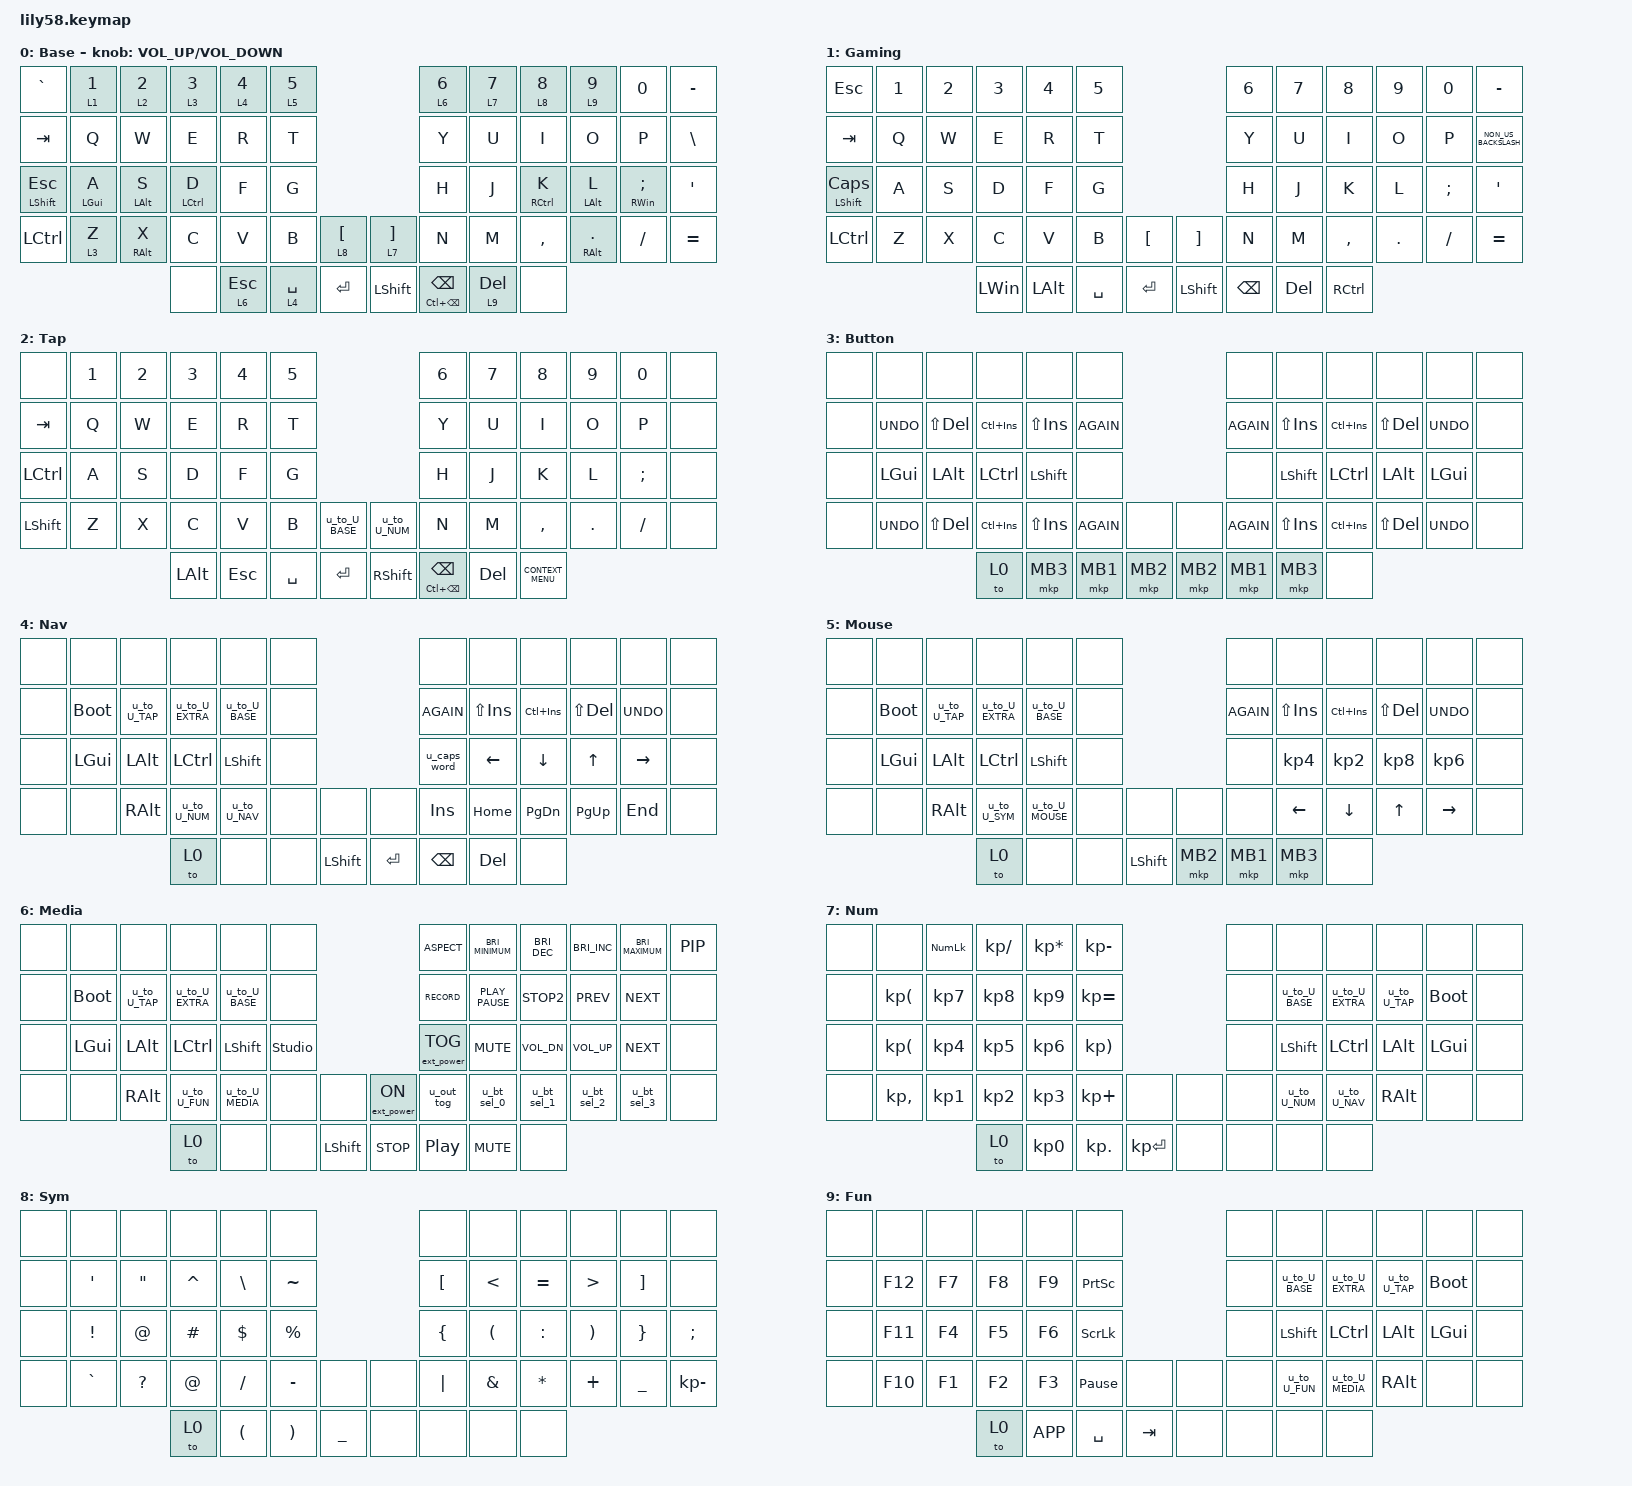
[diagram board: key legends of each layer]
/*
 * Copyright (c) 2020 The ZMK Contributors
 *
 * SPDX-License-Identifier: MIT
 */

#include <behaviors/mouse_key_press.dtsi>
#include <dt-bindings/zmk/mouse.h>
#include <behaviors.dtsi>
#include <dt-bindings/zmk/bt.h>
#include <dt-bindings/zmk/ext_power.h>
#include <dt-bindings/zmk/keys.h>
#include <dt-bindings/zmk/outputs.h>
#include <dt-bindings/zmk/pointing.h>

/ {
    combos {
        compatible = "zmk,combos";

        home {
            bindings = <&to 0>;
            key-positions = <25 26 27 28 31 32 33 34>;
        };
    };

    keymap {
        compatible = "zmk,keymap";

        BASE {
            display-name = "Base";
            bindings = <
&kp GRAVE              &u_to_tap 1 NUMBER_1  &u_to_tap 2 NUMBER_2  &u_to_tap 3 NUMBER_3  &u_to_tap 4 NUMBER_4  &u_to_tap 5 N5                                                 &u_to_tap 6 NUMBER_6         &u_to_tap 7 N7  &u_to_tap 8 N8  &u_to_tap 9 N9  &kp NUMBER_0         &kp MINUS
&kp TAB                &kp Q                 &kp W                 &kp E                 &kp R                 &kp T                                                          &kp Y                        &kp U           &kp I           &kp O           &kp P                &kp BACKSLASH
&mt LEFT_SHIFT ESCAPE  &hml LGUI A           &hml LALT S           &hml LCTRL D          &kp F                 &kp G                                                          &kp H                        &kp J           &hmr RCTRL K    &hmr LALT L     &hmr RWIN SEMICOLON  &kp SQT
&kp LCTRL              &u_lt 3 Z             &hml RALT X           &kp C                 &kp V                 &kp B           &u_lt 8 LEFT_BRACKET    &u_lt 7 RIGHT_BRACKET  &kp N                        &kp M           &kp COMMA       &hmr RALT DOT   &kp SLASH            &kp EQUAL
                                                                   &none                 &u_lt 6 ESC           &u_lt 4 SPACE   &kp ENTER               &kp LEFT_SHIFT         &mt LC(BACKSPACE) BACKSPACE  &u_lt 9 DEL     &none
            >;

            sensor-bindings = <&inc_dec_kp K_VOLUME_UP K_VOLUME_DOWN>;
        };

        GAMING {
            display-name = "Gaming";
            bindings = <
&kp ESCAPE               &kp NUMBER_1  &kp NUMBER_2  &kp NUMBER_3  &kp NUMBER_4  &kp N5                                            &kp NUMBER_6   &kp N7      &kp N8     &kp N9      &kp N0         &kp MINUS
&kp TAB                  &kp Q         &kp W         &kp E         &kp R         &kp T                                             &kp Y          &kp U       &kp I      &kp O       &kp P          &kp NON_US_BACKSLASH
&mt LEFT_SHIFT CAPSLOCK  &kp A         &kp S         &kp D         &kp F         &kp G                                             &kp H          &kp J       &kp K      &kp L       &kp SEMICOLON  &kp SQT
&kp LCTRL                &kp Z         &kp X         &kp C         &kp V         &kp B      &kp LEFT_BRACKET    &kp RIGHT_BRACKET  &kp N          &kp M       &kp COMMA  &kp PERIOD  &kp SLASH      &kp EQUAL
                                                     &kp LEFT_WIN  &kp LEFT_ALT  &kp SPACE  &kp ENTER           &kp LEFT_SHIFT     &kp BACKSPACE  &kp DELETE  &kp RCTRL
            >;
        };

        TAP {
            display-name = "Tap";
            bindings = <
&none      &kp N1  &kp N2  &kp N3        &kp N4   &kp N5                                      &kp N6             &kp N7   &kp N8              &kp N9   &kp N0    &none
&kp TAB    &kp Q   &kp W   &kp E         &kp R    &kp T                                       &kp Y              &kp U    &kp I               &kp O    &kp P     &none
&kp LCTRL  &kp A   &kp S   &kp D         &kp F    &kp G                                       &kp H              &kp J    &kp K               &kp L    &kp SEMI  &none
&kp LSHFT  &kp Z   &kp X   &kp C         &kp V    &kp B      &u_to_U_BASE    &u_to_U_NUM      &kp N              &kp M    &kp COMMA           &kp DOT  &kp FSLH  &none
                           &kp LEFT_ALT  &kp ESC  &kp SPACE  &kp ENTER       &kp RIGHT_SHIFT  &mt LC(BSPC) BSPC  &kp DEL  &kp K_CONTEXT_MENU
            >;
        };

        BUTTON {
            display-name = "Button";
            bindings = <
&none  &none       &none        &none        &none        &none                              &none        &none        &none        &none        &none       &none
&none  &kp K_UNDO  &kp LS(DEL)  &kp LC(INS)  &kp LS(INS)  &kp K_AGAIN                        &kp K_AGAIN  &kp LS(INS)  &kp LC(INS)  &kp LS(DEL)  &kp K_UNDO  &none
&none  &kp LGUI    &kp LALT     &kp LCTRL    &kp LSHFT    &none                              &none        &kp LSHFT    &kp LCTRL    &kp LALT     &kp LGUI    &none
&none  &kp K_UNDO  &kp LS(DEL)  &kp LC(INS)  &kp LS(INS)  &kp K_AGAIN  &none       &none     &kp K_AGAIN  &kp LS(INS)  &kp LC(INS)  &kp LS(DEL)  &kp K_UNDO  &none
                                &to 0        &mkp MB3     &mkp MB1     &mkp MB2    &mkp MB2  &mkp MB1     &mkp MB3     &none
            >;
        };

        NAV {
            display-name = "Nav";
            bindings = <
&none  &none        &none        &none          &none         &none                             &none         &none        &none        &none        &none       &none
&none  &bootloader  &u_to_U_TAP  &u_to_U_EXTRA  &u_to_U_BASE  &none                             &kp K_AGAIN   &kp LS(INS)  &kp LC(INS)  &kp LS(DEL)  &kp K_UNDO  &none
&none  &kp LGUI     &kp LALT     &kp LCTRL      &kp LSHFT     &none                             &u_caps_word  &kp LEFT     &kp DOWN     &kp UP       &kp RIGHT   &none
&none  &none        &kp RALT     &u_to_U_NUM    &u_to_U_NAV   &none  &none             &none    &kp INS       &kp HOME     &kp PG_DN    &kp PG_UP    &kp END     &none
                                 &to 0          &none         &none  &kp LEFT_SHIFT    &kp RET  &kp BSPC      &kp DEL      &none
            >;
        };

        MOUSE {
            display-name = "Mouse";
            bindings = <
&none  &none        &none        &none          &none          &none                              &none        &none        &none        &none         &none       &none
&none  &bootloader  &u_to_U_TAP  &u_to_U_EXTRA  &u_to_U_BASE   &none                              &kp K_AGAIN  &kp LS(INS)  &kp LC(INS)  &kp LS(DEL)   &kp K_UNDO  &none
&none  &kp LGUI     &kp LALT     &kp LCTRL      &kp LSHFT      &none                              &none        &kp KP_N4    &kp KP_N2    &kp KP_N8     &kp KP_N6   &none
&none  &none        &kp RALT     &u_to_U_SYM    &u_to_U_MOUSE  &none  &none             &none     &none        &kp LEFT     &kp DOWN     &kp UP_ARROW  &kp RIGHT   &none
                                 &to 0          &none          &none  &kp LEFT_SHIFT    &mkp MB2  &mkp MB1     &mkp MB3     &none
            >;
        };

        MEDIA {
            display-name = "Media";
            bindings = <
&none  &none        &none        &none          &none          &none                                               &kp C_ASPECT       &kp C_BRIGHTNESS_MINIMUM  &kp C_BRI_DEC  &kp C_BRI_INC  &kp C_BRIGHTNESS_MAXIMUM  &kp C_PIP
&none  &bootloader  &u_to_U_TAP  &u_to_U_EXTRA  &u_to_U_BASE   &none                                               &kp C_RECORD       &kp K_PLAY_PAUSE          &kp K_STOP2    &kp K_PREV     &kp K_NEXT                &none
&none  &kp LGUI     &kp LALT     &kp LCTRL      &kp LSHFT      &studio_unlock                                      &ext_power EP_TOG  &kp K_MUTE                &kp C_VOL_DN   &kp C_VOL_UP   &kp K_NEXT                &none
&none  &none        &kp RALT     &u_to_U_FUN    &u_to_U_MEDIA  &none           &none             &ext_power EP_ON  &u_out_tog         &u_bt_sel_0               &u_bt_sel_1    &u_bt_sel_2    &u_bt_sel_3               &none
                                 &to 0          &none          &none           &kp LEFT_SHIFT    &kp C_STOP        &kp C_PP           &kp C_MUTE                &none
            >;
        };

        NUM {
            display-name = "Num";
            bindings = <
&none  &none                    &kp KP_NUMLOCK   &kp KP_DIVIDE    &kp KP_ASTERISK  &kp KP_MINUS                                     &none  &none         &none          &none        &none        &none
&none  &kp KP_LEFT_PARENTHESIS  &kp KP_NUMBER_7  &kp KP_NUMBER_8  &kp KP_NUMBER_9  &kp KP_EQUAL                                     &none  &u_to_U_BASE  &u_to_U_EXTRA  &u_to_U_TAP  &bootloader  &none
&none  &kp KP_LEFT_PARENTHESIS  &kp KP_NUMBER_4  &kp KP_N5        &kp KP_NUMBER_6  &kp KP_RIGHT_PARENTHESIS                         &none  &kp LSHFT     &kp LCTRL      &kp LALT     &kp LGUI     &none
&none  &kp KP_COMMA             &kp KP_NUMBER_1  &kp KP_NUMBER_2  &kp KP_NUMBER_3  &kp KP_PLUS               &none           &none  &none  &u_to_U_NUM   &u_to_U_NAV    &kp RALT     &none        &none
                                                 &to 0            &kp KP_N0        &kp KP_DOT                &kp KP_ENTER    &none  &none  &none         &none
            >;
        };

        SYM {
            display-name = "Sym";
            bindings = <
&none  &none            &none              &none      &none          &none                            &none             &none                 &none         &none                  &none              &none
&none  &kp SQT          &kp DOUBLE_QUOTES  &kp CARET  &kp BACKSLASH  &kp TILDE                        &kp LEFT_BRACKET  &kp LESS_THAN         &kp EQUAL     &kp GREATER_THAN       &kp RIGHT_BRACKET  &none
&none  &kp EXCLAMATION  &kp AT             &kp HASH   &kp DOLLAR     &kp PERCENT                      &kp LEFT_BRACE    &kp LEFT_PARENTHESIS  &kp COLON     &kp RIGHT_PARENTHESIS  &kp RIGHT_BRACE    &kp SEMICOLON
&none  &kp GRAVE        &kp QUESTION       &kp AT     &kp SLASH      &kp MINUS    &none        &none  &kp PIPE          &kp AMPERSAND         &kp ASTERISK  &kp PLUS               &kp UNDERSCORE     &kp KP_MINUS
                                           &to 0      &kp LPAR       &kp RPAR     &kp UNDER    &none  &none             &none                 &none
            >;
        };

        FUN {
            display-name = "Fun";
            bindings = <
&none  &none    &none   &none   &none      &none                              &none  &none         &none          &none        &none        &none
&none  &kp F12  &kp F7  &kp F8  &kp F9     &kp PSCRN                          &none  &u_to_U_BASE  &u_to_U_EXTRA  &u_to_U_TAP  &bootloader  &none
&none  &kp F11  &kp F4  &kp F5  &kp F6     &kp SLCK                           &none  &kp LSHFT     &kp LCTRL      &kp LALT     &kp LGUI     &none
&none  &kp F10  &kp F1  &kp F2  &kp F3     &kp PAUSE_BREAK  &none      &none  &none  &u_to_U_FUN   &u_to_U_MEDIA  &kp RALT     &none        &none
                        &to 0   &kp K_APP  &kp SPACE        &kp TAB    &none  &none  &none         &none
            >;
        };
    };
};

/ {
    macros {
        u_macro_u_bt_sel_0: u_macro_u_bt_sel_0 {
            compatible = "zmk,behavior-macro";
            #binding-cells = <0>;
            wait-ms = <0>;
            bindings = <&bt BT_SEL 0 &bt BT_CLR>;
        };
    };
};

/ {
    behaviors {
        u_bt_sel_0: u_bt_sel_0 {
            compatible = "zmk,behavior-mod-morph";
            #binding-cells = <0>;
            bindings = <&bt BT_SEL 0>, <&u_macro_u_bt_sel_0>;

            mods = <(MOD_LSFT|MOD_RSFT)>;
        };
    };
};

/ {
    macros {
        u_macro_u_bt_sel_1: u_macro_u_bt_sel_1 {
            compatible = "zmk,behavior-macro";
            #binding-cells = <0>;
            wait-ms = <0>;
            bindings = <&bt BT_SEL 1 &bt BT_CLR>;
        };
    };
};

/ {
    behaviors {
        u_bt_sel_1: u_bt_sel_1 {
            compatible = "zmk,behavior-mod-morph";
            #binding-cells = <0>;
            bindings = <&bt BT_SEL 1>, <&u_macro_u_bt_sel_1>;

            mods = <(MOD_LSFT|MOD_RSFT)>;
        };
    };
};

/ {
    macros {
        u_macro_u_bt_sel_2: u_macro_u_bt_sel_2 {
            compatible = "zmk,behavior-macro";
            #binding-cells = <0>;
            wait-ms = <0>;
            bindings = <&bt BT_SEL 2 &bt BT_CLR>;
        };
    };
};

/ {
    behaviors {
        u_bt_sel_2: u_bt_sel_2 {
            compatible = "zmk,behavior-mod-morph";
            #binding-cells = <0>;
            bindings = <&bt BT_SEL 2>, <&u_macro_u_bt_sel_2>;

            mods = <(MOD_LSFT|MOD_RSFT)>;
        };
    };
};

/ {
    macros {
        u_macro_u_bt_sel_3: u_macro_u_bt_sel_3 {
            compatible = "zmk,behavior-macro";
            #binding-cells = <0>;
            wait-ms = <0>;
            bindings = <&bt BT_SEL 3 &bt BT_CLR>;
        };
    };
};

/ {
    behaviors {
        u_bt_sel_3: u_bt_sel_3 {
            compatible = "zmk,behavior-mod-morph";
            #binding-cells = <0>;
            bindings = <&bt BT_SEL 3>, <&u_macro_u_bt_sel_3>;

            mods = <(MOD_LSFT|MOD_RSFT)>;
        };
    };
};

/ {
    macros {
        u_macro_u_bt_sel_4: u_macro_u_bt_sel_4 {
            compatible = "zmk,behavior-macro";
            #binding-cells = <0>;
            wait-ms = <0>;
            bindings = <&bt BT_SEL 4 &bt BT_CLR>;
        };
    };
};

/ {
    behaviors {
        u_bt_sel_4: u_bt_sel_4 {
            compatible = "zmk,behavior-mod-morph";
            #binding-cells = <0>;
            bindings = <&bt BT_SEL 4>, <&u_macro_u_bt_sel_4>;

            mods = <(MOD_LSFT|MOD_RSFT)>;
        };
    };
};

/ {
    behaviors {
        u_out_tog: u_out_tog {
            compatible = "zmk,behavior-mod-morph";
            #binding-cells = <0>;
            bindings = <&out OUT_TOG>, <&out OUT_USB>;

            mods = <(MOD_LSFT|MOD_RSFT)>;
        };
    };
};

/ {
    behaviors {
        u_caps_word: u_caps_word {
            compatible = "zmk,behavior-mod-morph";
            #binding-cells = <0>;
            bindings = <&caps_word>, <&kp CAPS>;

            mods = <(MOD_LSFT|MOD_RSFT)>;
        };
    };
};

/ {
    behaviors {
        u_to_U_BASE: u_to_U_BASE {
            compatible = "zmk,behavior-tap-dance";
            #binding-cells = <0>;
            tapping-term-ms = <200>;
            bindings = <&none>, <&to 0>;
        };
    };
};

/ {
    behaviors {
        u_to_U_EXTRA: u_to_U_EXTRA {
            compatible = "zmk,behavior-tap-dance";
            #binding-cells = <0>;
            tapping-term-ms = <200>;
            bindings = <&none>, <&to 1>;
        };
    };
};

/ {
    behaviors {
        u_to_U_TAP: u_to_U_TAP {
            compatible = "zmk,behavior-tap-dance";
            #binding-cells = <0>;
            tapping-term-ms = <200>;
            bindings = <&none>, <&to 2>;
        };
    };
};

/ {
    behaviors {
        u_to_U_BUTTON: u_to_U_BUTTON {
            compatible = "zmk,behavior-tap-dance";
            #binding-cells = <0>;
            tapping-term-ms = <200>;
            bindings = <&none>, <&to 3>;
        };
    };
};

/ {
    behaviors {
        u_to_U_NAV: u_to_U_NAV {
            compatible = "zmk,behavior-tap-dance";
            #binding-cells = <0>;
            tapping-term-ms = <200>;
            bindings = <&none>, <&to 4>;
        };
    };
};

/ {
    behaviors {
        u_to_U_MOUSE: u_to_U_MOUSE {
            compatible = "zmk,behavior-tap-dance";
            #binding-cells = <0>;
            tapping-term-ms = <200>;
            bindings = <&none>, <&to 5>;
        };
    };
};

/ {
    behaviors {
        u_to_U_MEDIA: u_to_U_MEDIA {
            compatible = "zmk,behavior-tap-dance";
            #binding-cells = <0>;
            tapping-term-ms = <200>;
            bindings = <&none>, <&to 6>;
        };
    };
};

/ {
    behaviors {
        u_to_U_NUM: u_to_U_NUM {
            compatible = "zmk,behavior-tap-dance";
            #binding-cells = <0>;
            tapping-term-ms = <200>;
            bindings = <&none>, <&to 7>;
        };
    };
};

/ {
    behaviors {
        u_to_U_SYM: u_to_U_SYM {
            compatible = "zmk,behavior-tap-dance";
            #binding-cells = <0>;
            tapping-term-ms = <200>;
            bindings = <&none>, <&to 8>;
        };
    };
};

/ {
    behaviors {
        u_to_U_FUN: u_to_U_FUN {
            compatible = "zmk,behavior-tap-dance";
            #binding-cells = <0>;
            tapping-term-ms = <200>;
            bindings = <&none>, <&to 9>;
        };
    };
};

/ {
    macros {
        u_macro_btn1: u_macro_btn1 {
            compatible = "zmk,behavior-macro";
            #binding-cells = <0>;
            wait-ms = <0>;
            bindings = <&kp KP_SLASH &kp KP_N5>;
        };
    };
};

/ {
    macros {
        u_macro_btn2: u_macro_btn2 {
            compatible = "zmk,behavior-macro";
            #binding-cells = <0>;
            wait-ms = <0>;
            bindings = <&kp KP_MINUS &kp KP_N5>;
        };
    };
};

/ {
    macros {
        u_macro_btn3: u_macro_btn3 {
            compatible = "zmk,behavior-macro";
            #binding-cells = <0>;
            wait-ms = <0>;
            bindings = <&kp KP_ASTERISK &kp KP_N5>;
        };
    };
};

/ {
    behaviors {
        u_mt: u_mt {
            compatible = "zmk,behavior-hold-tap";
            #binding-cells = <2>;
            tapping-term-ms = <200>;
            flavor = "tap-preferred";
            bindings = <&kp>, <&kp>;
        };

        u_lt: u_lt {
            compatible = "zmk,behavior-hold-tap";
            #binding-cells = <2>;
            tapping-term-ms = <200>;
            flavor = "tap-preferred";
            bindings = <&mo>, <&kp>;
        };

        hml: hml {
            compatible = "zmk,behavior-hold-tap";
            label = "home_row_mod_left";
            bindings = <&kp>, <&kp>;

            #binding-cells = <2>;
            flavor = "balanced";
            require-prior-idle-ms = <150>;
            tapping-term-ms = <280>;
            quick-tap-ms = <175>;
            hold-trigger-key-positions = <6 7 8 9 10 11 18 19 20 21 22 23 30 31 32 33 34 35 43 44 45 46 47 48 49 54 55 56 57>;
            hold-trigger-on-release;
        };

        hmr: hmr {
            compatible = "zmk,behavior-hold-tap";
            label = "home_row_mod_right";
            bindings = <&kp>, <&kp>;

            #binding-cells = <2>;
            flavor = "balanced";
            require-prior-idle-ms = <150>;
            tapping-term-ms = <280>;
            quick-tap-ms = <175>;
            hold-trigger-on-release;
            hold-trigger-key-positions = <0 1 2 3 4 5 12 13 14 15 16 17 24 25 26 27 28 29 36 37 38 39 40 41 42 50 51 52 53>;
        };

        u_to_tap: u_to_tap {
            compatible = "zmk,behavior-hold-tap";
            #binding-cells = <2>;
            tapping-term-ms = <200>;
            flavor = "tap-preferred";
            bindings = <&to>, <&kp>;

            label = "toggle tap";
        };
    };
};
